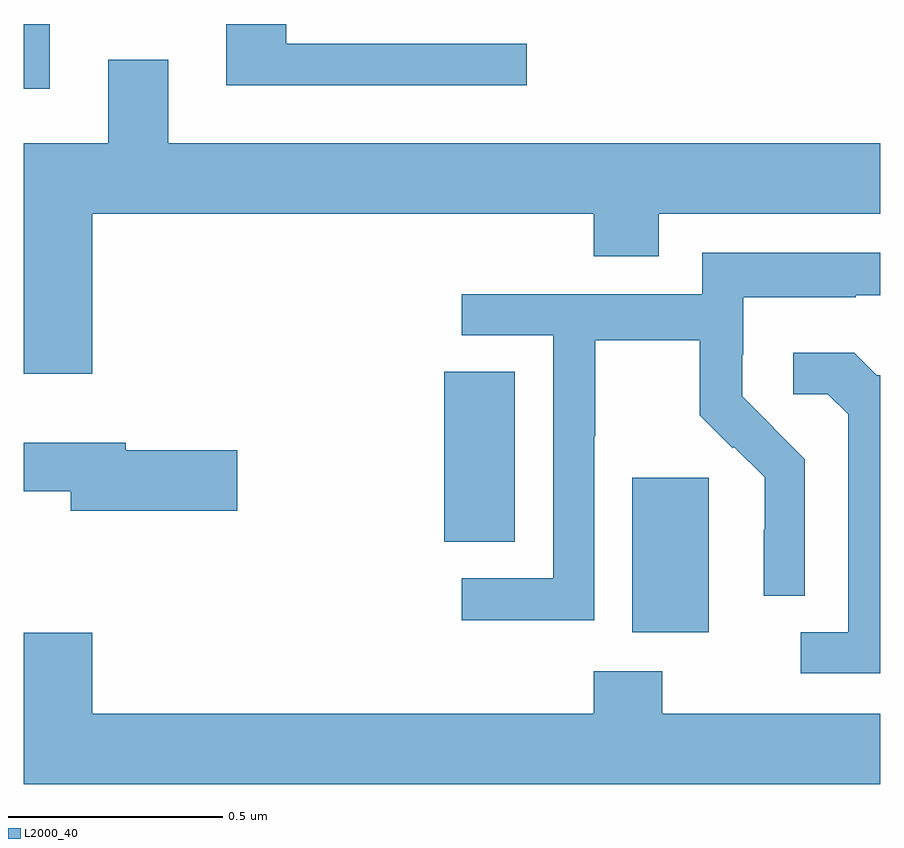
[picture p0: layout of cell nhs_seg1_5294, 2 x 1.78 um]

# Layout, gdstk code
import gdstk
lib = gdstk.Library(unit=1e-6, precision=1e-09)
def R(c, l, rs):  # rectangles x0, y0, x1, y1
    for r in rs: c.add(gdstk.rectangle(r[:2], r[2:], *l))
def P(c, l, *ps):  # polygons
    for p in ps: c.add(gdstk.Polygon(p, *l))
L2000_40 = (2000, 40)

nhs_seg1_5294 = lib.new_cell('nhs_seg1_5294')
R(nhs_seg1_5294, L2000_40, [(178.421,526.778,178.6,527.139), (177.982,526.99,178.147,527.387), (177,528.048,177.061,528.199)])
P(nhs_seg1_5294, L2000_40, [(178.174,528.153),(177.613,528.153),(177.613,528.199),(177.473,528.199),(177.473,528.056),(178.174,528.056)],
  [(177.16,527.756),(178.331,527.756),(178.331,527.657),(178.483,527.657),(178.483,527.756),(179,527.756),(179,527.92),(177.337,527.92),(177.337,528.115),(177.197,528.115),(177.197,527.92),(177,527.92),(177,527.382),(177.16,527.382)],
  [(178.332,527.236),(178.335,527.236),(178.335,527.46),(178.579,527.46),(178.579,527.285),(178.656,527.208),(178.659,527.211),(178.73,527.141),(178.73,527.018),(178.728,527.018),(178.728,526.864),(178.824,526.864),(178.824,527.182),(178.751,527.255),(178.752,527.256),(178.678,527.33),(178.678,527.427),(178.68,527.427),(178.68,527.561),(178.943,527.561),(178.943,527.565),(179,527.565),(179,527.665),(178.584,527.665),(178.584,527.568),(178.023,527.568),(178.023,527.472),(178.236,527.472),(178.236,526.905),(178.023,526.905),(178.023,526.807),(178.332,526.807)],
  [(179,527.379),(178.992,527.379),(178.94,527.431),(178.797,527.431),(178.797,527.334),(178.878,527.334),(178.925,527.287),(178.925,526.779),(178.815,526.779),(178.815,526.683),(179,526.683)],
  [(177.499,527.204),(177.238,527.204),(177.238,527.221),(177,527.221),(177,527.108),(177.11,527.108),(177.11,527.062),(177.499,527.062)],
  [(179,526.588),(178.491,526.588),(178.491,526.687),(178.331,526.687),(178.331,526.588),(177.16,526.588),(177.16,526.777),(177,526.777),(177,526.424),(179,526.424)])

lib.write_gds('nhs_seg1_5294.gds')
